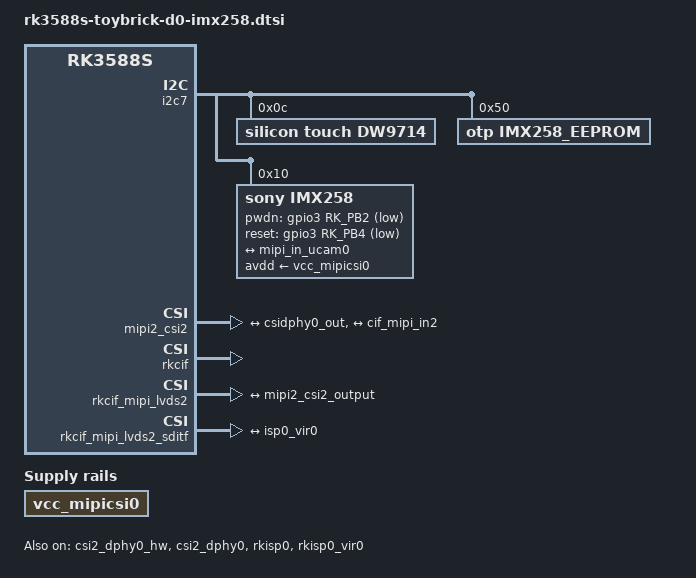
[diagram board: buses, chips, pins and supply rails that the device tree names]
// SPDX-License-Identifier: (GPL-2.0+ OR MIT)
/*
 * Copyright (c) 2021 Rockchip Electronics Co., Ltd.
 *
 */
/ {
	vcc_mipicsi0: vcc-mipicsi0-regulator {
		compatible = "regulator-fixed";
		regulator-name = "vcc_mipicsi0";
		enable-active-high;
	};
};

&csi2_dphy0_hw {
	status = "okay";
};

&csi2_dphy0 {
	status = "okay";
	ports {
		#address-cells = <1>;
		#size-cells = <0>;
		port@0 {
			reg = <0>;
			#address-cells = <1>;
			#size-cells = <0>;
			mipi_in_ucam0: endpoint@1 {
				reg = <1>;
				remote-endpoint = <&ucam_out0>;
				data-lanes = <1 2 3 4>;
			};
		};
		port@1 {
			reg = <1>;
			#address-cells = <1>;
			#size-cells = <0>;
			csidphy0_out: endpoint@0 {
				reg = <0>;
				remote-endpoint = <&mipi2_csi2_input>;
			};
		};
	};
};

&i2c7 {
	status = "okay";
	pinctrl-names = "default";
	pinctrl-0 = <&i2c7m2_xfer>;
	dw9714: dw9714@c {
		compatible = "silicon touch,dw9714";
		status = "okay";
		reg = <0x0c>;
		rockchip,camera-module-index = <0>;
		rockchip,camera-module-facing = "back";
		rockchip,vcm-start-current = <20>;
		rockchip,vcm-rated-current = <120>;
		rockchip,vcm-step-mode = <13>;
	};

	imx258_eeprom: imx258_eeprom@50 {
		compatible = "otp,imx258_eeprom";
		status = "okay";
		reg = <0x50>;
	};

	imx258: imx258@10 {
		compatible = "sony,imx258";
		reg = <0x10>;
		clocks = <&cru CLK_MIPI_CAMARAOUT_M3>;
		clock-names = "xvclk";
		pinctrl-names = "default";
		pinctrl-0 = <&mipim1_camera3_clk>;
		power-domains = <&power RK3588_PD_VI>;
		avdd-supply = <&vcc_mipicsi0>;
		pwdn-gpios = <&gpio3 RK_PB2 GPIO_ACTIVE_LOW>;
		reset-gpios = <&gpio3 RK_PB4 GPIO_ACTIVE_LOW>;
		rockchip,camera-module-index = <0>;
		rockchip,camera-module-facing = "back";
		rockchip,camera-module-name = "GEIR180089";
		rockchip,camera-module-lens-name = "LG500627G";
		eeprom-ctrl = <&imx258_eeprom>;
		lens-focus = <&dw9714>;
		port {
			ucam_out0: endpoint {
				remote-endpoint = <&mipi_in_ucam0>;
				data-lanes = <1 2 3 4>;
			};
		};
	};
};

&mipi2_csi2 {
	status = "okay";
	ports {
		#address-cells = <1>;
		#size-cells = <0>;
		port@0 {
			reg = <0>;
			#address-cells = <1>;
			#size-cells = <0>;
			mipi2_csi2_input: endpoint@1 {
				reg = <1>;
				remote-endpoint = <&csidphy0_out>;
			};
		};
		port@1 {
			reg = <1>;
			#address-cells = <1>;
			#size-cells = <0>;
			mipi2_csi2_output: endpoint@0 {
				reg = <0>;
				remote-endpoint = <&cif_mipi_in2>;
			};
		};
	};
};

&rkcif {
	status = "okay";
};

&rkcif_mipi_lvds2 {
	status = "okay";
	port {
		cif_mipi_in2: endpoint {
			remote-endpoint = <&mipi2_csi2_output>;
		};
	};
};

&rkcif_mipi_lvds2_sditf {
	status = "okay";
	port {
		mipi_lvds_sditf: endpoint {
			remote-endpoint = <&isp0_vir0>;
		};
	};
};

&rkcif_mmu {
	status = "okay";
};

&rkisp0 {
	status = "okay";
};

&isp0_mmu {
	status = "okay";
};

&rkisp0_vir0 {
	status = "okay";
	port {
		#address-cells = <1>;
		#size-cells = <0>;
		isp0_vir0: endpoint@0 {
			reg = <0>;
			remote-endpoint = <&mipi_lvds_sditf>;
		};
	};
};
